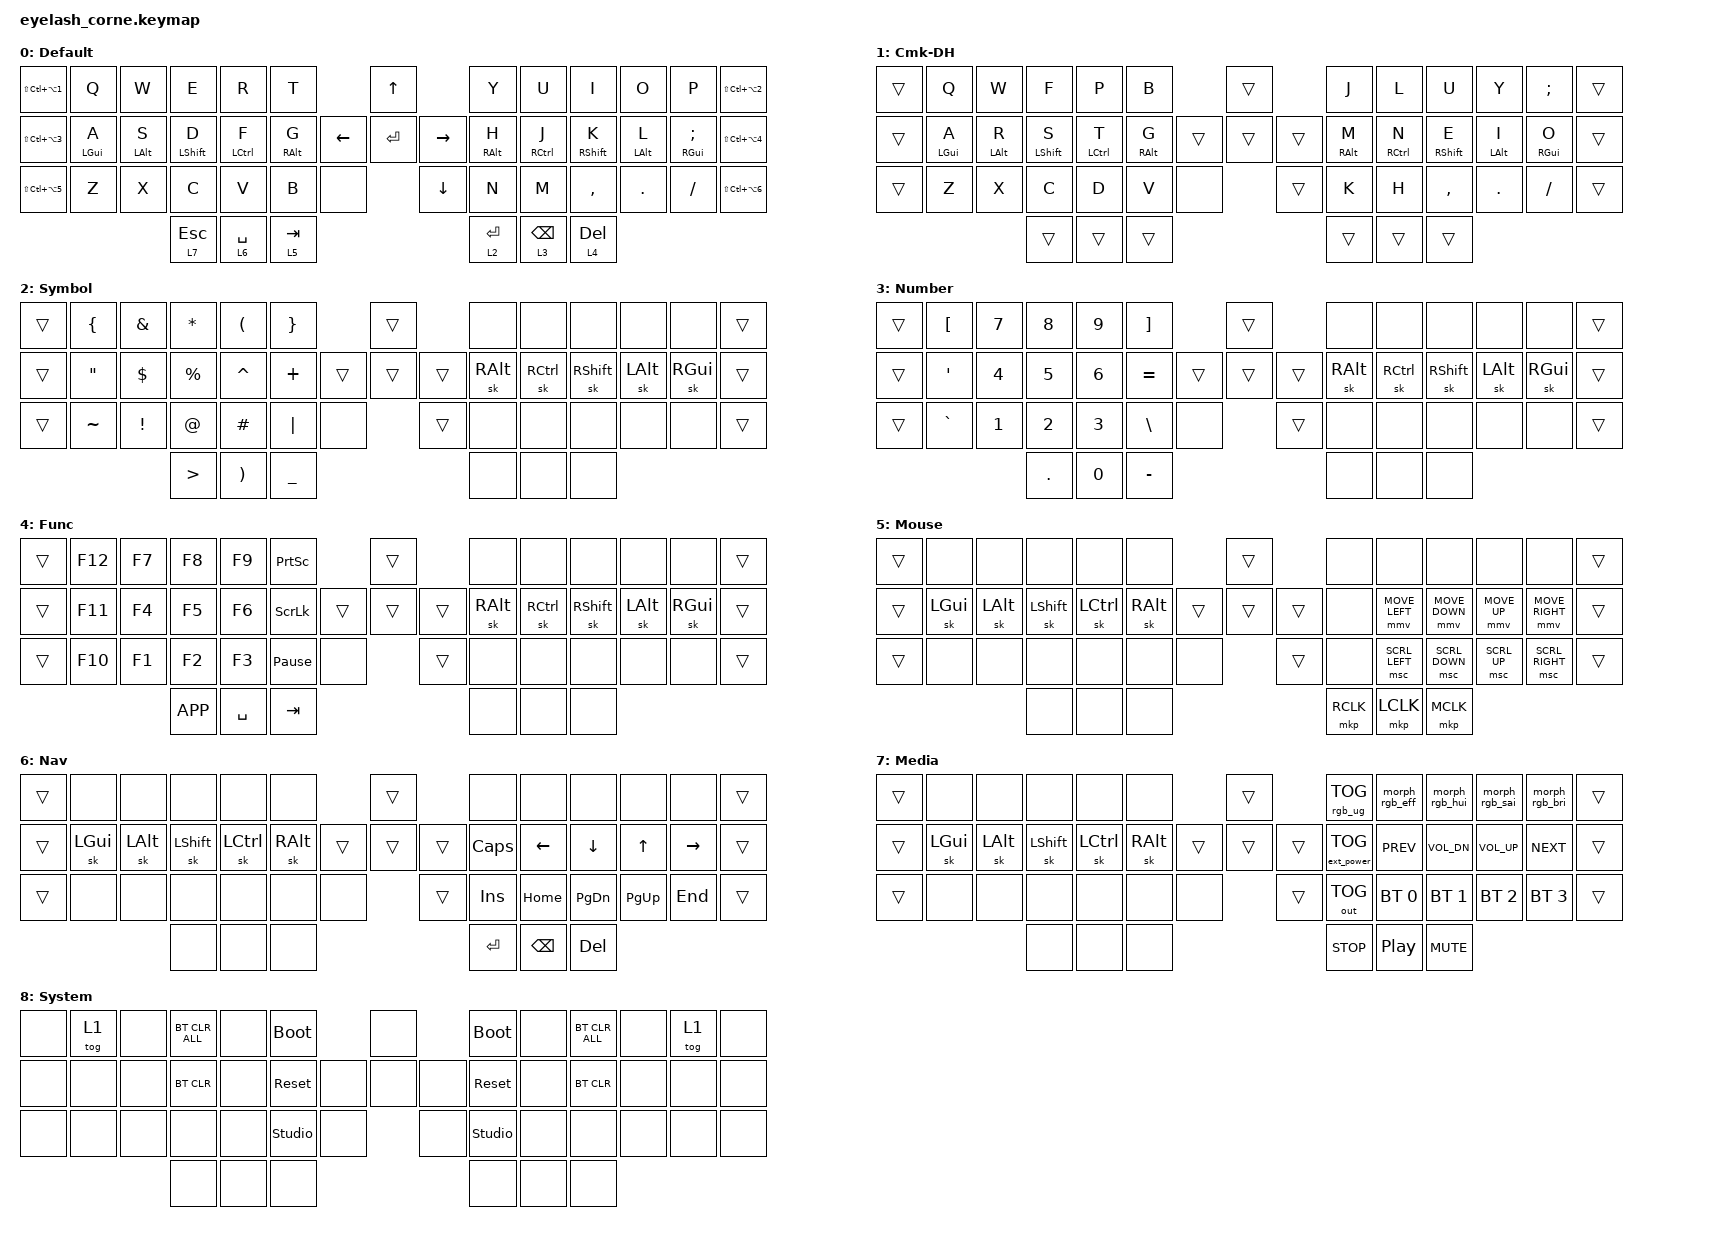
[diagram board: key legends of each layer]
#define ZMK_POINTING_DEFAULT_MOVE_VAL 1250
#define ZMK_POINTING_DEFAULT_SCRL_VAL 100
#define HT_PRIOR_IDLE 150
#define HT_TAPPING_TERM 280
#define HT_QUICK_TAP 175
#define KEYS_L_TOP  0  1  2  3  4  5
#define KEYS_R_TOP  7  8  9 10 11 12
#define KEYS_L_MID 13 14 15 16 17 18
#define KEYS_R_MID 22 23 24 25 26 27
#define KEYS_L_BTM 28 29 30 31 32 33
#define KEYS_R_BTM 36 37 38 39 40 41
#define KEYS_L_THUMB 42 43 44
#define KEYS_R_THUMB 45 46 47
#define KEYS_L KEYS_L_TOP KEYS_L_MID KEYS_L_BTM
#define KEYS_R KEYS_R_TOP KEYS_R_MID KEYS_R_BTM
#define KEYS_THUMBS KEYS_L_THUMB KEYS_R_THUMB

#include <input/processors.dtsi>
#include <zephyr/dt-bindings/input/input-event-codes.h>
#include <behaviors.dtsi>
#include <dt-bindings/zmk/bt.h>
#include <dt-bindings/zmk/ext_power.h>
#include <dt-bindings/zmk/keys.h>
#include <dt-bindings/zmk/outputs.h>
#include <dt-bindings/zmk/pointing.h>
#include <dt-bindings/zmk/rgb.h>

#include "utils/ruen.dtsi"

&mmv_input_listener { input-processors = <&zip_xy_scaler 2 1>; };

&msc_input_listener { input-processors = <&zip_scroll_scaler 2 1>; };

&mmv {
    acceleration-exponent = <1>;
    time-to-max-speed-ms = <1000>;
    delay-ms = <0>;
    display-name = "Mouse Move";
};

&msc {
    acceleration-exponent = <1>;
    time-to-max-speed-ms = <2000>;
    delay-ms = <0>;
    display-name = "Mouse Scroll";
};

/ {
    behaviors {
        lt: layer_tap {
            compatible = "zmk,behavior-hold-tap";
            #binding-cells = <2>;
            flavor = "balanced";
            require-prior-idle-ms = <HT_PRIOR_IDLE>;
            tapping-term-ms = <HT_TAPPING_TERM>;
            quick-tap-ms = <HT_QUICK_TAP>;
            bindings = <&mo>, <&kp>;
            display-name = "Layer-Tap";
        };

        hm_l: homerow_mods_left {
            compatible = "zmk,behavior-hold-tap";
            #binding-cells = <2>;
            flavor = "balanced";
            require-prior-idle-ms = <HT_PRIOR_IDLE>;
            tapping-term-ms = <HT_TAPPING_TERM>;
            quick-tap-ms = <HT_QUICK_TAP>;
            bindings = <&kp>, <&kp>;
            hold-trigger-key-positions = <KEYS_R KEYS_THUMBS>;
            hold-trigger-on-release;
            display-name = "Mod-Tap Home-Mode Left";
        };

        hm_r: homerow_mods_right {
            compatible = "zmk,behavior-hold-tap";
            #binding-cells = <2>;
            flavor = "balanced";
            require-prior-idle-ms = <HT_PRIOR_IDLE>;
            tapping-term-ms = <HT_TAPPING_TERM>;
            quick-tap-ms = <HT_QUICK_TAP>;
            bindings = <&kp>, <&kp>;
            hold-trigger-key-positions = <KEYS_L KEYS_THUMBS>;
            hold-trigger-on-release;
            display-name = "Mod-Tap Home-Mode Right";
        };

        morph_rgb_eff: morph_rgb_eff {
            compatible = "zmk,behavior-mod-morph";
            #binding-cells = <0>;
            bindings = <&rgb_ug RGB_EFF>, <&rgb_ug RGB_EFR>;
            mods = <(MOD_LSFT|MOD_RSFT)>;
            display-name = "Underglow Next/Previous Effects";
        };

        morph_rgb_hui: morph_rgb_hui {
            compatible = "zmk,behavior-mod-morph";
            #binding-cells = <0>;
            bindings = <&rgb_ug RGB_HUI>, <&rgb_ug RGB_HUD>;
            mods = <(MOD_LSFT|MOD_RSFT)>;
            display-name = "Underglow Hue Up/Down";
        };

        morph_rgb_sai: morph_rgb_sai {
            compatible = "zmk,behavior-mod-morph";
            #binding-cells = <0>;
            bindings = <&rgb_ug RGB_SAI>, <&rgb_ug RGB_SAD>;
            mods = <(MOD_LSFT|MOD_RSFT)>;
            display-name = "Underglow Saturation Up/Down";
        };

        morph_rgb_bri: morph_rgb_bri {
            compatible = "zmk,behavior-mod-morph";
            #binding-cells = <0>;
            bindings = <&rgb_ug RGB_BRI>, <&rgb_ug RGB_BRD>;
            mods = <(MOD_LSFT|MOD_RSFT)>;
            display-name = "Underglow Brightness Up/Down";
        };
    };

    combos {
        compatible = "zmk,combos";

        system_left {
            bindings = <&sl 8>;
            key-positions = <0 13 28>;
            layers = <0 1>;
        };

        system_right {
            bindings = <&sl 8>;
            key-positions = <12 27 41>;
            layers = <0 1>;
        };

        meh_7 {
            bindings = <&kp LS(LC(LA(N7)))>;
            key-positions = <0 13>;
        };

        meh_8 {
            bindings = <&kp LS(LC(LA(N8)))>;
            key-positions = <12 27>;
        };

        meh_9 {
            bindings = <&kp LS(LC(LA(N9)))>;
            key-positions = <13 28>;
        };

        meh_0 {
            bindings = <&kp LS(LC(LA(N0)))>;
            key-positions = <27 41>;
        };

        key_lbkt {
            bindings = <&kp LBKT>;
            key-positions = <3 4>;
            layers = <0 1>;
        };

        key_rbkt {
            bindings = <&kp RBKT>;
            key-positions = <8 9>;
            layers = <0 1>;
        };

        key_lbrc {
            bindings = <&kp LBRC>;
            key-positions = <31 32>;
            layers = <0 1>;
        };

        key_rbrc {
            bindings = <&kp RBRC>;
            key-positions = <37 38>;
            layers = <0 1>;
        };

        key_lt {
            bindings = <&kp LT>;
            key-positions = <2 3>;
            layers = <0 1>;
        };

        key_gt {
            bindings = <&kp GT>;
            key-positions = <9 10>;
            layers = <0 1>;
        };

        key_lpar {
            bindings = <&kp LPAR>;
            key-positions = <30 31>;
            layers = <0 1>;
        };

        key_rpar {
            bindings = <&kp RPAR>;
            key-positions = <38 39>;
            layers = <0 1>;
        };

        key_grave {
            bindings = <&kp GRAVE>;
            key-positions = <1 2>;
            layers = <0 1>;
        };

        key_bslh {
            bindings = <&kp BSLH>;
            key-positions = <10 11>;
            layers = <0 1>;
        };

        key_tilde {
            bindings = <&kp TILDE>;
            key-positions = <29 30>;
            layers = <0 1>;
        };

        key_pipe {
            bindings = <&kp PIPE>;
            key-positions = <39 40>;
            layers = <0 1>;
        };

        ruen_layer_en_qwerty {
            bindings = <&layer_en_qwerty>;
            key-positions = <4 5>;
            layers = <0 1>;
        };

        ruen_layer_en_colemak {
            bindings = <&layer_en_colemak>;
            key-positions = <14 15>;
            layers = <0 1>;
        };

        ruen_layer_ru_jcuken {
            bindings = <&layer_ru_jcuken>;
            key-positions = <24 25>;
            layers = <0 1>;
        };
    };

    keymap {
        compatible = "zmk,keymap";

        default_layer {
            display-name = "Default";
            bindings = <
&kp LS(LC(LA(N1)))  &kp Q         &kp W         &kp E          &kp R          &kp T                            &kp UP               &kp Y         &kp U          &kp I          &kp O         &kp P            &kp LS(LC(LA(N2)))
&kp LS(LC(LA(N3)))  &hm_l LGUI A  &hm_l LALT S  &hm_l LSHFT D  &hm_l LCTRL F  &hm_l RALT G           &kp LEFT  &kp RET   &kp RIGHT  &hm_r RALT H  &hm_r RCTRL J  &hm_r RSHFT K  &hm_r LALT L  &hm_r RGUI SEMI  &kp LS(LC(LA(N4)))
&kp LS(LC(LA(N5)))  &kp Z         &kp X         &kp C          &kp V          &kp B         &none              &kp DOWN             &kp N         &kp M          &kp COMMA      &kp DOT       &kp SLASH        &kp LS(LC(LA(N6)))
                                                &lt 7 ESC      &lt 6 SPACE    &lt 5 TAB                                             &lt 2 RET     &lt 3 BSPC     &lt 4 DEL
            >;
        };

        cmkdh_layer {
            display-name = "Cmk-DH";
            bindings = <
&trans  &kp Q         &kp W         &kp F          &kp P          &kp B                          &trans          &kp J         &kp L          &kp U          &kp Y         &kp SEMI      &trans
&trans  &hm_l LGUI A  &hm_l LALT R  &hm_l LSHFT S  &hm_l LCTRL T  &hm_l RALT G           &trans  &trans  &trans  &hm_r RALT M  &hm_r RCTRL N  &hm_r RSHFT E  &hm_r LALT I  &hm_r RGUI O  &trans
&trans  &kp Z         &kp X         &kp C          &kp D          &kp V         &none            &trans          &kp K         &kp H          &kp COMMA      &kp DOT       &kp SLASH     &trans
                                    &trans         &trans         &trans                                         &trans        &trans         &trans
            >;
        };

        symbol_layer {
            display-name = "Symbol";
            bindings = <
&trans  &kp LBRC   &kp AMPS  &kp ASTRK  &kp LPAR   &kp RBRC                    &trans          &none     &none      &none      &none     &none     &trans
&trans  &kp DQT    &kp DLLR  &kp PRCNT  &kp CARET  &kp PLUS            &trans  &trans  &trans  &sk RALT  &sk RCTRL  &sk RSHFT  &sk LALT  &sk RGUI  &trans
&trans  &kp TILDE  &kp EXCL  &kp AT     &kp HASH   &kp PIPE   &none            &trans          &none     &none      &none      &none     &none     &trans
                             &kp GT     &kp RPAR   &kp UNDER                                   &none     &none      &none
            >;
        };

        number_layer {
            display-name = "Number";
            bindings = <
&trans  &kp LBKT   &kp N7  &kp N8   &kp N9  &kp RBKT                    &trans          &none     &none      &none      &none     &none     &trans
&trans  &kp SQT    &kp N4  &kp N5   &kp N6  &kp EQUAL           &trans  &trans  &trans  &sk RALT  &sk RCTRL  &sk RSHFT  &sk LALT  &sk RGUI  &trans
&trans  &kp GRAVE  &kp N1  &kp N2   &kp N3  &kp BSLH   &none            &trans          &none     &none      &none      &none     &none     &trans
                           &kp DOT  &kp N0  &kp MINUS                                   &none     &none      &none
            >;
        };

        func_layer {
            display-name = "Func";
            bindings = <
&trans  &kp F12  &kp F7  &kp F8     &kp F9     &kp PSCRN                         &trans          &none     &none      &none      &none     &none     &trans
&trans  &kp F11  &kp F4  &kp F5     &kp F6     &kp SLCK                  &trans  &trans  &trans  &sk RALT  &sk RCTRL  &sk RSHFT  &sk LALT  &sk RGUI  &trans
&trans  &kp F10  &kp F1  &kp F2     &kp F3     &kp PAUSE_BREAK  &none            &trans          &none     &none      &none      &none     &none     &trans
                         &kp K_APP  &kp SPACE  &kp TAB                                           &none     &none      &none
            >;
        };

        mouse_layer {
            display-name = "Mouse";
            bindings = <
&trans  &none     &none     &none      &none      &none                      &trans          &none      &none           &none           &none         &none            &trans
&trans  &sk LGUI  &sk LALT  &sk LSHFT  &sk LCTRL  &sk RALT           &trans  &trans  &trans  &none      &mmv MOVE_LEFT  &mmv MOVE_DOWN  &mmv MOVE_UP  &mmv MOVE_RIGHT  &trans
&trans  &none     &none     &none      &none      &none     &none            &trans          &none      &msc SCRL_LEFT  &msc SCRL_DOWN  &msc SCRL_UP  &msc SCRL_RIGHT  &trans
                            &none      &none      &none                                      &mkp RCLK  &mkp LCLK       &mkp MCLK
            >;
        };

        nav_layer {
            display-name = "Nav";
            bindings = <
&trans  &none     &none     &none      &none      &none                      &trans          &none     &none          &none       &none      &none      &trans
&trans  &sk LGUI  &sk LALT  &sk LSHFT  &sk LCTRL  &sk RALT           &trans  &trans  &trans  &kp CAPS  &kp LEFT       &kp DOWN    &kp UP     &kp RIGHT  &trans
&trans  &none     &none     &none      &none      &none     &none            &trans          &kp INS   &kp HOME       &kp PG_DN   &kp PG_UP  &kp END    &trans
                            &none      &none      &none                                      &kp RET   &kp BACKSPACE  &kp DELETE
            >;
        };

        media_layer {
            display-name = "Media";
            bindings = <
&trans  &none     &none     &none      &none      &none                      &trans          &rgb_ug RGB_TOG    &morph_rgb_eff  &morph_rgb_hui  &morph_rgb_sai  &morph_rgb_bri  &trans
&trans  &sk LGUI  &sk LALT  &sk LSHFT  &sk LCTRL  &sk RALT           &trans  &trans  &trans  &ext_power EP_TOG  &kp C_PREV      &kp C_VOL_DN    &kp C_VOL_UP    &kp C_NEXT      &trans
&trans  &none     &none     &none      &none      &none     &none            &trans          &out OUT_TOG       &bt BT_SEL 0    &bt BT_SEL 1    &bt BT_SEL 2    &bt BT_SEL 3    &trans
                            &none      &none      &none                                      &kp C_STOP         &kp C_PP        &kp C_MUTE
            >;
        };

        system_layer {
            display-name = "System";
            bindings = <
&none  &tog 1  &none  &bt BT_CLR_ALL  &none  &bootloader                     &none         &bootloader     &none  &bt BT_CLR_ALL  &none  &tog 1  &none
&none  &none   &none  &bt BT_CLR      &none  &sys_reset               &none  &none  &none  &sys_reset      &none  &bt BT_CLR      &none  &none   &none
&none  &none   &none  &none           &none  &studio_unlock  &none           &none         &studio_unlock  &none  &none           &none  &none   &none
                             &none           &none  &none                                         &none           &none  &none
            >;
        };

        extra1 { status = "reserved"; };

        extra2 { status = "reserved"; };
    };

    conditional_layers { compatible = "zmk,conditional-layers"; };
};
